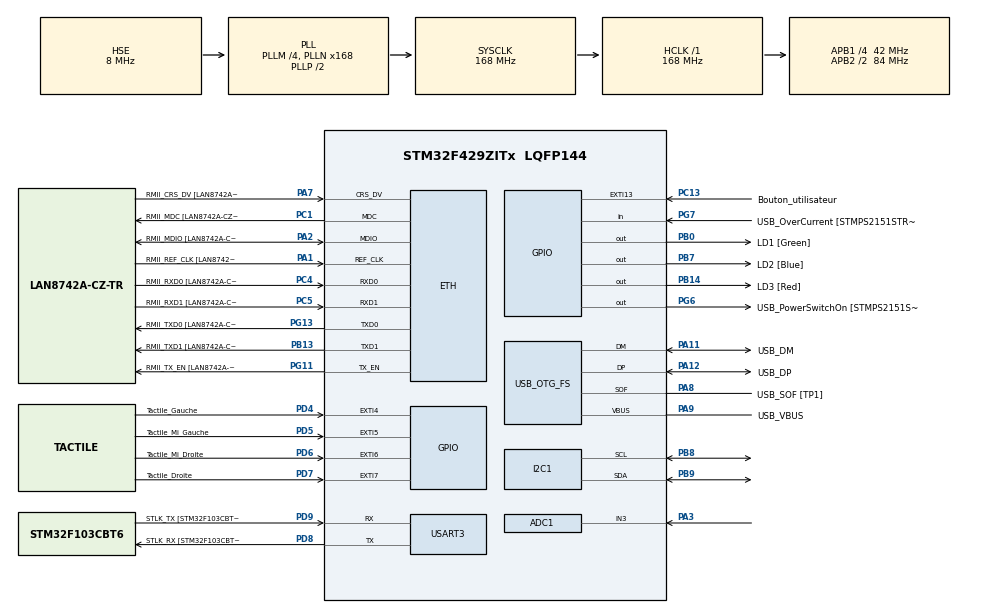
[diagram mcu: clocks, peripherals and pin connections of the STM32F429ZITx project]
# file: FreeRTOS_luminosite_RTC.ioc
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ADC1.Channel-3\#ChannelRegularConversion=ADC_CHANNEL_3
ADC1.ContinuousConvMode=ENABLE
ADC1.NbrOfConversionFlag=1
ADC1.Rank-3\#ChannelRegularConversion=1
ADC1.SamplingTime-3\#ChannelRegularConversion=ADC_SAMPLETIME_3CYCLES
ADC1.master=1
ETH.MediaInterface=ETH_MEDIA_INTERFACE_RMII
ETH.PHY_Name=LAN8742A_PHY_ADDRESS
ETH.PHY_Value=0
ETH.PhyAddress=0
FREERTOS.INCLUDE_vTaskDelayUntil=1
FREERTOS.Queues01=exchange,6,uint16_t,0,Dynamic,NULL,NULL
FREERTOS.Tasks01=defaultTask,0,128,StartDefaultTask,Default,NULL,Dynamic,NULL,NULL;myTask02,-3,128,StartTask02,Default,NULL,Dynamic,NULL,NULL;TaskInitAndAffi,-3,128,InitAndAffich,Default,NULL,Dynamic,NULL,NULL;TaskModeRegl,-3,128,ModeReglage,Default,NULL,Dynamic,NULL,NULL
Mcu.Family=STM32F4
Mcu.Name=STM32F429ZITx
Mcu.Package=LQFP144
NVIC.EXTI15_10_IRQn=true\:5\:0\:false\:false\:true\:true\:true\:true
NVIC.EXTI4_IRQn=true\:5\:0\:false\:false\:true\:true\:true\:true
NVIC.EXTI9_5_IRQn=true\:5\:0\:false\:false\:true\:true\:true\:true
NVIC.PriorityGroup=NVIC_PRIORITYGROUP_4
NVIC.TIM8_UP_TIM13_IRQn=true\:0\:0\:false\:false\:true\:false\:false\:true
NVIC.TimeBase=TIM8_UP_TIM13_IRQn
NVIC.TimeBaseIP=TIM8
PA1.GPIO_Label=RMII_REF_CLK [LAN8742A-CZ-TR_REFCLK0]
PA1.Mode=RMII
PA1.Signal=ETH_REF_CLK
PA10.GPIO_Label=USB_ID
PA10.Signal=USB_OTG_FS_ID
PA11.GPIO_Label=USB_DM
PA11.Mode=Device_Only
PA11.Signal=USB_OTG_FS_DM
PA12.GPIO_Label=USB_DP
PA12.Mode=Device_Only
PA12.Signal=USB_OTG_FS_DP
PA13.GPIO_Label=TMS
PA13.Mode=Serial_Wire
PA13.Signal=SYS_JTMS-SWDIO
PA14.GPIO_Label=TCK
PA14.Mode=Serial_Wire
PA14.Signal=SYS_JTCK-SWCLK
PA2.GPIO_Label=RMII_MDIO [LAN8742A-CZ-TR_MDIO]
PA2.Mode=RMII
PA2.Signal=ETH_MDIO
PA3.Signal=ADCx_IN3
PA7.GPIO_Label=RMII_CRS_DV [LAN8742A-CZ-TR_CRS_DV]
PA7.Mode=RMII
PA7.Signal=ETH_CRS_DV
PA8.GPIO_Label=USB_SOF [TP1]
PA8.Mode=Activate_SOF_FS
PA8.Signal=USB_OTG_FS_SOF
PA9.GPIO_Label=USB_VBUS
PA9.Mode=Activate_VBUS
PA9.Signal=USB_OTG_FS_VBUS
PB0.GPIO_Label=LD1 [Green]
PB0.Signal=GPIO_Output
PB13.GPIO_Label=RMII_TXD1 [LAN8742A-CZ-TR_TXD1]
PB13.Mode=RMII
PB13.Signal=ETH_TXD1
PB14.GPIO_Label=LD3 [Red]
PB14.Signal=GPIO_Output
PB7.GPIO_Label=LD2 [Blue]
PB7.Signal=GPIO_Output
PB8.Mode=I2C
PB8.Signal=I2C1_SCL
PB9.Mode=I2C
PB9.Signal=I2C1_SDA
PC1.GPIO_Label=RMII_MDC [LAN8742A-CZ-TR_MDC]
PC1.Mode=RMII
PC1.Signal=ETH_MDC
PC13.GPIO_Label=Bouton_utilisateur
PC13.Signal=GPXTI13
PC14/OSC32_IN.Mode=LSE-External-Oscillator
PC14/OSC32_IN.Signal=RCC_OSC32_IN
PC15/OSC32_OUT.Mode=LSE-External-Oscillator
PC15/OSC32_OUT.Signal=RCC_OSC32_OUT
PC4.GPIO_Label=RMII_RXD0 [LAN8742A-CZ-TR_RXD0]
PC4.Mode=RMII
PC4.Signal=ETH_RXD0
PC5.GPIO_Label=RMII_RXD1 [LAN8742A-CZ-TR_RXD1]
PC5.Mode=RMII
PC5.Signal=ETH_RXD1
PD4.GPIO_Label=Tactile_Gauche
PD4.Signal=GPXTI4
PD5.GPIO_Label=Tactile_Mi_Gauche
PD5.Signal=GPXTI5
PD6.GPIO_Label=Tactile_Mi_Droite
PD6.Signal=GPXTI6
PD7.GPIO_Label=Tactile_Droite
PD7.Signal=GPXTI7
PD8.GPIO_Label=STLK_RX [STM32F103CBT6_PA3]
PD8.Mode=Asynchronous
PD8.Signal=USART3_TX
PD9.GPIO_Label=STLK_TX [STM32F103CBT6_PA2]
PD9.Mode=Asynchronous
PD9.Signal=USART3_RX
PG11.GPIO_Label=RMII_TX_EN [LAN8742A-CZ-TR_TXEN]
PG11.Mode=RMII
PG11.Signal=ETH_TX_EN
PG13.GPIO_Label=RMII_TXD0 [LAN8742A-CZ-TR_TXD0]
PG13.Mode=RMII
PG13.Signal=ETH_TXD0
PG6.GPIO_Label=USB_PowerSwitchOn [STMPS2151STR_EN]
PG6.Signal=GPIO_Output
PG7.GPIO_Label=USB_OverCurrent [STMPS2151STR_FAULT]
PG7.Signal=GPIO_Input
PH0/OSC_IN.GPIO_Label=MCO [STM32F103CBT6_PA8]
PH0/OSC_IN.Mode=HSE-External-Clock-Source
PH0/OSC_IN.Signal=RCC_OSC_IN
PH1/OSC_OUT.Mode=HSE-External-Clock-Source
PH1/OSC_OUT.Signal=RCC_OSC_OUT
ProjectManager.HeapSize=0x200
ProjectManager.StackSize=0x400
ProjectManager.TargetToolchain=TrueSTUDIO
RCC.48MHZClocksFreq_Value=48000000
RCC.AHBFreq_Value=168000000
RCC.APB1CLKDivider=RCC_HCLK_DIV4
RCC.APB1Freq_Value=42000000
RCC.APB1TimFreq_Value=84000000
RCC.APB2CLKDivider=RCC_HCLK_DIV2
RCC.APB2Freq_Value=84000000
RCC.APB2TimCLKDivider=2
RCC.APB2TimFreq_Value=168000000
RCC.CortexFreq_Value=168000000
RCC.HCLKFreq_Value=168000000
RCC.HSE_VALUE=8000000
RCC.HSI_VALUE=16000000
RCC.PLLM=4
RCC.PLLMUL=RCC_PLL_MUL9
RCC.PLLN=168
RCC.PLLQ=7
RCC.PRESCALERUSB=RCC_USBCLKSOURCE_PLL_DIV1_5
RCC.SYSCLKFreq_VALUE=168000000
RCC.SYSCLKSource=RCC_SYSCLKSOURCE_PLLCLK
RCC.SYSCLKSourceVirtual=RCC_SYSCLKSOURCE_PLLCLK
RCC.USBFreq_Value=48000000
RCC.VCOOutputFreq_Value=336000000
SH.ADCx_IN3.0=ADC1_IN3,IN3
USART3.VirtualMode=VM_ASYNC
USB_OTG_FS.VirtualMode=Device_Only
VP_FREERTOS_VS_CMSIS_V1.Mode=CMSIS_V1
VP_SYS_VS_tim8.Mode=TIM8
board=NUCLEO-F429ZI

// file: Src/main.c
/* USER CODE BEGIN Header */
/**
  ******************************************************************************
  * @file           : main.c
  * @brief          : Main program body
  ******************************************************************************
  * @attention
  *
  * <h2><center>&copy; Copyright (c) 2019 STMicroelectronics.
  * All rights reserved.</center></h2>
  *
  * This software component is licensed by ST under Ultimate Liberty license
  * SLA0044, the "License"; You may not use this file except in compliance with
  * the License. You may obtain a copy of the License at:
  *                             www.st.com/SLA0044
  *
  ******************************************************************************
  */
/* USER CODE END Header */

#include "main.h"
#include "cmsis_os.h"
#include "adc.h"
#include "eth.h"
#include "i2c.h"
#include "usart.h"
#include "usb_otg.h"
#include "gpio.h"

void SystemClock_Config(void);
void MX_FREERTOS_Init(void);

/* USER CODE BEGIN 0 */
void HAL_GPIO_EXTI_Callback(uint16_t clavier)
{
  /* Prevent unused argument(s) compilation warning */
	if (clavier == Tactile_Droite_Pin)
	{
//		g_appui_touche = TOUCHE_DROITE;
		if (mode_reglage == 0)
		{
			mode_reglage = 1;
		}
		else
			mode_reglage = 0;
	}
	if (mode_reglage)
	{
		switch(clavier)
		{
			case Tactile_Gauche_Pin:
			{
				g_appui_touche = TOUCHE_GAUCHE;
				break;
			}
			case Tactile_Mi_Gauche_Pin:
			{
				g_appui_touche = TOUCHE_MI_GAUCHE;
				break;
			}
			case Tactile_Mi_Droite_Pin:
			{
				g_appui_touche = TOUCHE_MI_DROITE;
				break;
			}
			case Bouton_utilisateur_Pin:
			{
				g_appui_touche = APPUI_BOUTON;
				break;
			}
			default:
			{
				break;
			}
		}
	}
  /* NOTE: This function Should not be modified, when the callback is needed,
           the HAL_GPIO_EXTI_Callback could be implemented in the user file
   */
}
/* USER CODE END 0 */

int main(void)
 {

  /* MCU Configuration--------------------------------------------------------*/

  /* Reset of all peripherals, Initializes the Flash interface and the Systick. */
  HAL_Init();

  /* Configure the system clock */
  SystemClock_Config();

  /* Initialize all configured peripherals */
  MX_GPIO_Init();
  MX_ETH_Init();
  MX_USART3_UART_Init();
  MX_USB_OTG_FS_PCD_Init();
  MX_ADC1_Init();
  MX_I2C1_Init();

  /* Call init function for freertos objects (in freertos.c) */
  MX_FREERTOS_Init();

  /* Start scheduler */
  osKernelStart();

  /* We should never get here as control is now taken by the scheduler */

  /* Infinite loop */
  while (1)
  {

  }
}

void SystemClock_Config(void)
{
  RCC_OscInitTypeDef RCC_OscInitStruct = {0};
  RCC_ClkInitTypeDef RCC_ClkInitStruct = {0};

  /** Configure the main internal regulator output voltage
  */
  __HAL_RCC_PWR_CLK_ENABLE();
  __HAL_PWR_VOLTAGESCALING_CONFIG(PWR_REGULATOR_VOLTAGE_SCALE1);
  /** Initializes the CPU, AHB and APB busses clocks
  */
  RCC_OscInitStruct.OscillatorType = RCC_OSCILLATORTYPE_HSE;
  RCC_OscInitStruct.HSEState = RCC_HSE_BYPASS;
  RCC_OscInitStruct.PLL.PLLState = RCC_PLL_ON;
  RCC_OscInitStruct.PLL.PLLSource = RCC_PLLSOURCE_HSE;
  RCC_OscInitStruct.PLL.PLLM = 4;
  RCC_OscInitStruct.PLL.PLLN = 168;
  RCC_OscInitStruct.PLL.PLLP = RCC_PLLP_DIV2;
  RCC_OscInitStruct.PLL.PLLQ = 7;
  if (HAL_RCC_OscConfig(&RCC_OscInitStruct) != HAL_OK)
  {
    Error_Handler();
  }
  /** Initializes the CPU, AHB and APB busses clocks
  */
  RCC_ClkInitStruct.ClockType = RCC_CLOCKTYPE_HCLK|RCC_CLOCKTYPE_SYSCLK
                              |RCC_CLOCKTYPE_PCLK1|RCC_CLOCKTYPE_PCLK2;
  RCC_ClkInitStruct.SYSCLKSource = RCC_SYSCLKSOURCE_PLLCLK;
  RCC_ClkInitStruct.AHBCLKDivider = RCC_SYSCLK_DIV1;
  RCC_ClkInitStruct.APB1CLKDivider = RCC_HCLK_DIV4;
  RCC_ClkInitStruct.APB2CLKDivider = RCC_HCLK_DIV2;

  if (HAL_RCC_ClockConfig(&RCC_ClkInitStruct, FLASH_LATENCY_5) != HAL_OK)
  {
    Error_Handler();
  }
}

/* USER CODE BEGIN 4 */
int _write(int file, char *ptr, int len) // the new function for SWV output
{
	int i=0;
	for(i=0 ; i<len ; i++)
		ITM_SendChar((*ptr++)); // out char to serial
	return len;
}
/* USER CODE END 4 */

void HAL_TIM_PeriodElapsedCallback(TIM_HandleTypeDef *htim)
{
  if (htim->Instance == TIM8) {
    HAL_IncTick();
  }
}

void Error_Handler(void)
{
}

/************************ (C) COPYRIGHT STMicroelectronics *****END OF FILE****/

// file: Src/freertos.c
/* USER CODE BEGIN Header */
/**
  ******************************************************************************
  * File Name          : freertos.c
  * Description        : Code for freertos applications
  ******************************************************************************
  * @attention
  *
  * <h2><center>&copy; Copyright (c) 2019 STMicroelectronics.
  * All rights reserved.</center></h2>
  *
  * This software component is licensed by ST under Ultimate Liberty license
  * SLA0044, the "License"; You may not use this file except in compliance with
  * the License. You may obtain a copy of the License at:
  *                             www.st.com/SLA0044
  *
  ******************************************************************************
  */
/* USER CODE END Header */

#include "FreeRTOS.h"
#include "task.h"
#include "main.h"
#include "cmsis_os.h"

/* USER CODE BEGIN Includes */
#include <errno.h>
#include <stdlib.h>
#include <stdio.h>
#include "adc.h"
#include "i2c.h"
#include <string.h>
/* USER CODE END Includes */

/* USER CODE BEGIN PD */
static int gresu_a_afficher;
/* USER CODE END PD */

osThreadId defaultTaskHandle;
osThreadId myTask02Handle;
osThreadId TaskInitAndAffiHandle;
osThreadId TaskModeReglHandle;
osMessageQId exchangeHandle;

void StartDefaultTask(void const * argument);
void StartTask02(void const * argument);
void InitAndAffich(void const * argument);
void ModeReglage(void const * argument);

void MX_FREERTOS_Init(void); /* (MISRA C 2004 rule 8.1) */

/* GetIdleTaskMemory prototype (linked to static allocation support) */
void vApplicationGetIdleTaskMemory( StaticTask_t **ppxIdleTaskTCBBuffer, StackType_t **ppxIdleTaskStackBuffer, uint32_t *pulIdleTaskStackSize );

/* USER CODE BEGIN GET_IDLE_TASK_MEMORY */
static StaticTask_t xIdleTaskTCBBuffer;
static StackType_t xIdleStack[configMINIMAL_STACK_SIZE];

void vApplicationGetIdleTaskMemory( StaticTask_t **ppxIdleTaskTCBBuffer, StackType_t **ppxIdleTaskStackBuffer, uint32_t *pulIdleTaskStackSize )
{
  *ppxIdleTaskTCBBuffer = &xIdleTaskTCBBuffer;
  *ppxIdleTaskStackBuffer = &xIdleStack[0];
  *pulIdleTaskStackSize = configMINIMAL_STACK_SIZE;
  /* place for user code */
}
/* USER CODE END GET_IDLE_TASK_MEMORY */

void MX_FREERTOS_Init(void) {

  /* Create the queue(s) */
  /* definition and creation of exchange */
  osMessageQDef(exchange, 6, uint16_t);
  exchangeHandle = osMessageCreate(osMessageQ(exchange), NULL);

  /* Create the thread(s) */
  /* definition and creation of defaultTask */
  osThreadDef(defaultTask, StartDefaultTask, osPriorityNormal, 0, 128);
  defaultTaskHandle = osThreadCreate(osThread(defaultTask), NULL);

  /* definition and creation of myTask02 */
  osThreadDef(myTask02, StartTask02, osPriorityIdle, 0, 128);
  myTask02Handle = osThreadCreate(osThread(myTask02), NULL);

  /* definition and creation of TaskInitAndAffi */
  osThreadDef(TaskInitAndAffi, InitAndAffich, osPriorityIdle, 0, 128);
  TaskInitAndAffiHandle = osThreadCreate(osThread(TaskInitAndAffi), NULL);

  /* definition and creation of TaskModeRegl */
  osThreadDef(TaskModeRegl, ModeReglage, osPriorityIdle, 0, 128);
  TaskModeReglHandle = osThreadCreate(osThread(TaskModeRegl), NULL);

}

void StartDefaultTask(void const * argument)
{

  /* USER CODE BEGIN StartDefaultTask */
	uint16_t adcResult = 0;
	TickType_t xLastWakeTime;

	int start_tick = 0;

	xLastWakeTime = xTaskGetTickCount();
  /* Infinite loop */
  for(;;)
  {
	  start_tick = HAL_GetTick();
	  HAL_ADC_Start(&hadc1);
	  HAL_ADC_PollForConversion(&hadc1, 100);
	  adcResult = HAL_ADC_GetValue(&hadc1);
	  gresu_a_afficher = adcResult;
	  printf("luminosité : %d --->  start tick : %d\n", gresu_a_afficher, start_tick);

	  osDelayUntil(&xLastWakeTime, pdMS_TO_TICKS(PERIODE_MS));
	  osDelay(1);
  }
  /* USER CODE END StartDefaultTask */
}

void StartTask02(void const * argument)
{
  /* USER CODE BEGIN StartTask02 */
	float led_allume;
	float led_eteinte;
  /* Infinite loop */
  for(;;)
  {
	  led_allume = gresu_a_afficher / 400;
	  led_eteinte = 10.2375 - led_allume;

	  if (gresu_a_afficher >= 60)
	  {
		  HAL_GPIO_WritePin(GPIOB, LD3_Pin, 1);
	  }
	  osDelay(led_allume);
	  if (gresu_a_afficher <= 3900)
	  {
		  HAL_GPIO_WritePin(GPIOB, LD3_Pin, 0);
	  }
	  osDelay(led_eteinte);
	  osDelay(1);
  }
  /* USER CODE END StartTask02 */
}

void InitAndAffich(void const * argument)
{
  /* USER CODE BEGIN InitAndAffich */
	uint8_t transmit_data_buffer[64];
	uint8_t receive_data_buffer[64];
	int octet_a_lire = 3;
	adresse_rtc = 0b1101000 << 1;

//	int date;
//	int mois;
//	int annee;

	transmit_data_buffer[0] = 0b00000000;	//pointeur
	transmit_data_buffer[1] = 0b00000000;	//sec
	transmit_data_buffer[2] = 0b00010011;	//min
	transmit_data_buffer[3] = 0b00001000;	//heure
//	transmit_data_buffer[4] = 0b00000010;	//jour
//	transmit_data_buffer[5] = 0b00110001;	//date
//	transmit_data_buffer[6] = 0b00010010;	//mois
//	transmit_data_buffer[7] = 0b00011001;	//annee

//	HAL_I2C_Master_Transmit(&hi2c1, adresse_rtc, (uint8_t *)transmit_data_buffer, 4, 100);
  /* Infinite loop */
  for(;;)
  {
	  if(mode_reglage == 0)
	  {
		  printf("mode normal\n");
		  HAL_I2C_Master_Transmit(&hi2c1, adresse_rtc, transmit_data_buffer, 1, 100);

		  HAL_I2C_Master_Receive(&hi2c1, adresse_rtc, (uint8_t *)receive_data_buffer, octet_a_lire, 100);

		  secondes = (receive_data_buffer[0] >> 4) * 10;
		  secondes += receive_data_buffer[0] & MASQUE_UNITE;
		  minutes = (receive_data_buffer[1] >> 4) * 10;
		  minutes += receive_data_buffer[1] & MASQUE_UNITE;
		  heures = (receive_data_buffer[2] >> 4) * 10;
		  heures += receive_data_buffer[2] & MASQUE_UNITE;
//		  jour = receive_data_buffer[3];
//		  date = (receive_data_buffer[4] >> 4) * 10;
//		  date += receive_data_buffer[4] & MASQUE_UNITE;
//		  mois = (receive_data_buffer[5] >> 4) * 10;
//		  mois += receive_data_buffer[5] & MASQUE_UNITE;
//		  annee = (receive_data_buffer[6] >> 4) * 10;
//		  annee += receive_data_buffer[6] & MASQUE_UNITE;

		  printf("- %dh - %dmin - %dsec -\n", heures, minutes, secondes);
//		  printf("- Date:%d/Month:%d/Year:20%d -\n\n", date, mois, annee);
	  }
	  osDelay(1000);
//	  osDelay(1);
  }
  /* USER CODE END InitAndAffich */
}

void ModeReglage(void const * argument)
{
  /* USER CODE BEGIN ModeReglage */
	int temp;
	int temp2;
	int sens = 1;
	int champ = 1;
	uint8_t transmit_data_buffer_reglage[64];
  /* Infinite loop */
  for(;;)
  {
	  if(mode_reglage == 1)
	  {
		  printf("mode reglage\n");
		  switch(g_appui_touche)
		  {
		  	  case TOUCHE_GAUCHE:
		  	  {
		  		  printf("changement sens\n");
		  		  g_appui_touche = 0;
		  		  if(sens == 1){
		  			  sens = -1;
		  		  }
		  		  else{
		  			  sens = 1;
		  		  }
		  		  break;
		  	  }
		  	  case TOUCHE_MI_GAUCHE:
			  {
				  printf("champ suivant\n");
				  g_appui_touche = 0;
				  champ ++;
				  if (champ > 3)
				  {
					  champ = 1;
				  }
				  break;
			  }
		  	  case TOUCHE_MI_DROITE:
			  {
				  printf("changement enregistré\n");
				  g_appui_touche = 0;
				  //pointeur
				  transmit_data_buffer_reglage[0] = 0b00000000;
				  //sec
				  temp = secondes % 10;
				  transmit_data_buffer_reglage[1] = temp;
				  temp2 = secondes / 10;
				  transmit_data_buffer_reglage[1] += (temp2 << 4);
				  //min
				  temp = minutes % 10;
				  transmit_data_buffer_reglage[2] = temp;
				  temp2 = minutes / 10;
				  transmit_data_buffer_reglage[2] += (temp2 << 4);
				  //heure
				  temp = heures % 10;
				  transmit_data_buffer_reglage[3] = temp;
				  temp2 = heures / 10;
				  transmit_data_buffer_reglage[3] += (temp2 << 4);
				  //envoi
				  HAL_I2C_Master_Transmit(&hi2c1, adresse_rtc, (uint8_t *)transmit_data_buffer_reglage, 4, 100);
				  mode_reglage = 0;
				  break;
			  }
		  	  case APPUI_BOUTON:
			  {
				  printf("valeur ++\n");
				  g_appui_touche = 0;
				  switch (champ)
				  {
					  case 1:
					  {
						  heures += sens;
                          if((heures > 23)&&(sens == 1)){
                              heures = 0;
                          }
                          if((heures == 255)&&(sens == -1)){
                              heures = 23;
                          }
						  break;
					  }
					  case 2:
					  {
						  minutes += sens;
                          if((minutes > 59)&&(sens == 1)){
                              minutes = 0;
                          }
                          if((minutes == 255)&&(sens == -1)){
                              minutes = 59;
                          }
						  break;
					  }
					  case 3:
					  {
						  secondes += sens;
                          if((secondes > 59)&&(sens == 1)){
                              secondes = 0;
                          }
                          if((secondes == 255)&&(sens == -1)){
                              secondes = 59;
                          }
						  break;
					  }
				  }
				  break;
			  }
		  	  default:
			  {
			      break;
			  }
		  }
		  printf("- %dh - %dmin - %dsec -\n", heures, minutes, secondes);

	  }
	  osDelay(1000);
  }
  /* USER CODE END ModeReglage */
}

/************************ (C) COPYRIGHT STMicroelectronics *****END OF FILE****/
